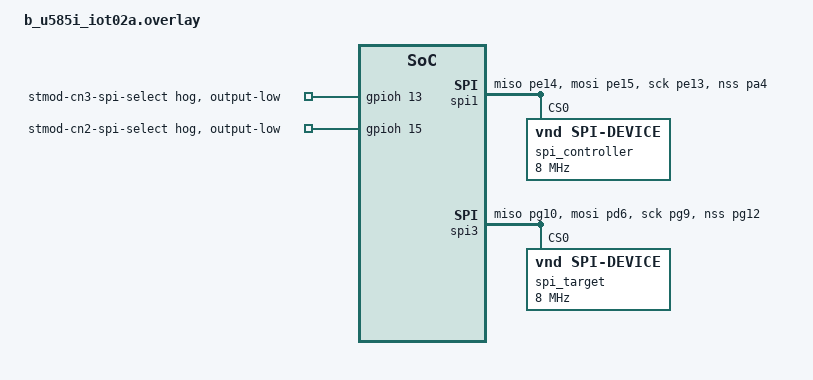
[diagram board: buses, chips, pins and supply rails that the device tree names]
/*
 * SPDX-FileCopyrightText: Copyright 2026 Nordic Semiconductor ASA
 *
 * SPDX-License-Identifier: Apache-2.0
 */

/* SPI bus pins of SPI1 and SPI3 are exposed on the STMod+ CN2 and CN3 connectors
 *
 *  Bus     MISO           MOSI           SCK            NSS
 *          Pin   Hdr      Pin   Hdr      Pin   Hdr      Pin   Hdr
 *  spi1    PE14  CN3:3    PE15  CN3:2    PE13  CN3:4    PA4   CN3:1
 *  spi3    PG10  CN2:3    PD6   CN2:2    PG9   CN2:4    PG12  CN2:1
 *
 * Short CN2:1 to CN3:1, CN2:2 to CN3:2, CN2:3 to CN3:3 and CN2:4 to CN3:4 for the
 * test to pass.
 */

&gpioh {
	status = "okay";

	stmod-cn3-spi-select {
		gpio-hog;
		gpios = <13 GPIO_ACTIVE_HIGH>;
		output-low;
	};

	stmod-cn2-spi-select {
		gpio-hog;
		gpios = <15 GPIO_ACTIVE_HIGH>;
		output-low;
	};
};

&spi1 {
	status = "okay";
	pinctrl-0 = <&spi1_miso_pe14 &spi1_mosi_pe15 &spi1_sck_pe13 &spi1_nss_pa4>;
	pinctrl-names = "default";
	dmas = <&gpdma1 0 7 STM32_DMA_PERIPH_TX>,
	       <&gpdma1 1 6 STM32_DMA_PERIPH_RX>;
	dma-names = "tx", "rx";
	st,fifo-threshold = <8>;

	spi_controller: spi-device@0 {
		compatible = "vnd,spi-device";
		reg = <0>;
		spi-max-frequency = <DT_FREQ_M(8)>;
	};
};

&spi3 {
	status = "okay";
	pinctrl-0 = <&spi3_miso_pg10 &spi3_mosi_pd6 &spi3_sck_pg9 &spi3_nss_pg12>;
	pinctrl-names = "default";
	dmas = <&gpdma1 2 11 STM32_DMA_PERIPH_TX>,
	       <&gpdma1 3 10 STM32_DMA_PERIPH_RX>;
	dma-names = "tx", "rx";
	st,fifo-threshold = <8>;

	spi_target: spi-device@0 {
		compatible = "vnd,spi-device";
		reg = <0>;
		spi-max-frequency = <DT_FREQ_M(8)>;
	};
};
